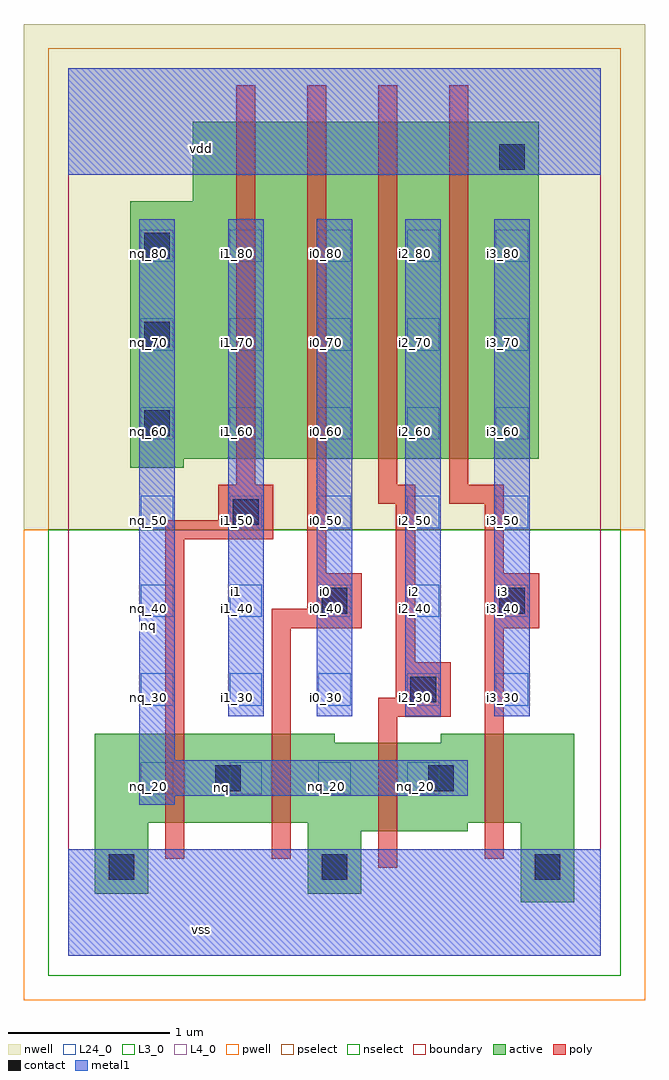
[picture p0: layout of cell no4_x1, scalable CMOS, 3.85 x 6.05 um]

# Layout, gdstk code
import gdstk
lib = gdstk.Library(unit=1e-6, precision=2.5e-09)
def R(c, l, rs):  # rectangles x0, y0, x1, y1
    for r in rs: c.add(gdstk.rectangle(r[:2], r[2:], *l))
def A(c, l, x, y, w, h, nx, ny, dx, dy):  # array of equal rectangles
    R(c, l, [(x+i*dx, y+j*dy, x+i*dx+w, y+j*dy+h) for i in range(nx) for j in range(ny)])
L3_0 = (3, 0)
L4_0 = (4, 0)
L24_0 = (24, 0)
contact = (25, 0)
pwell = (41, 0)
nwell = (42, 0)
active = (43, 0)
pselect = (44, 0)
nselect = (45, 0)
poly = (46, 0)
metal1 = (49, 0)
boundary = (63, 0)

no4_x1 = lib.new_cell('no4_x1')
R(no4_x1, L3_0, [(2.805,0.33,3.135,0.825), (0.165,0.385,0.495,0.825), (1.485,0.385,1.815,0.77), (1.485,0.77,2.475,0.825), (0.165,0.825,3.135,1.32), (0.165,1.32,1.65,1.375), (2.31,1.32,3.135,1.375)])
R(no4_x1, L4_0, [(0.385,3.025,0.715,3.08), (0.385,3.08,2.915,4.675), (0.77,4.675,2.915,5.17)])
A(no4_x1, L24_0, 0.45, 1, 0.2, 0.2, 4, 1, 0.55, 0)
A(no4_x1, L24_0, 0.45, 1.55, 0.2, 0.2, 5, 6, 0.55, 0.55)
A(no4_x1, contact, 0.25, 0.47, 0.16, 0.16, 3, 1, 1.32, 0)
A(no4_x1, contact, 0.47, 3.22, 0.16, 0.16, 1, 3, 0, 0.55)
R(no4_x1, contact, [(0.91,1.02,1.07,1.18), (2.23,1.02,2.39,1.18), (2.12,1.57,2.28,1.73), (1.57,2.12,1.73,2.28), (2.67,2.12,2.83,2.28), (1.02,2.67,1.18,2.83), (2.67,4.87,2.83,5.03)])
R(no4_x1, pwell, [(-0.275,-0.275,3.575,2.64)])
R(no4_x1, nwell, [(-0.275,2.64,3.575,5.775)])
R(no4_x1, active, [(2.805,0.33,3.135,0.825), (0.165,0.385,0.495,0.825), (1.485,0.385,1.815,0.77), (1.485,0.77,2.475,0.825), (0.165,0.825,3.135,1.32), (0.165,1.32,1.65,1.375), (2.31,1.32,3.135,1.375), (0.385,3.025,0.715,3.08), (0.385,3.08,2.915,4.675), (0.77,4.675,2.915,5.17)])
R(no4_x1, pselect, [(-0.125,2.64,3.425,5.625)])
R(no4_x1, nselect, [(-0.125,-0.125,3.425,2.64)])
R(no4_x1, poly, [(1.92,0.545,2.04,1.48), (0.6,0.6,0.72,2.58), (1.26,0.6,1.38,2.03), (2.58,0.6,2.7,2.03), (1.92,1.48,2.37,1.6), (2.03,1.6,2.37,1.82), (2.03,1.82,2.15,2.8), (1.26,2.03,1.82,2.15), (2.58,2.03,2.92,2.37), (1.48,2.15,1.82,2.37), (1.48,2.37,1.6,5.395), (2.58,2.37,2.7,2.8), (0.6,2.58,1.27,2.7), (0.93,2.7,1.27,2.92), (1.92,2.8,2.15,2.92), (2.36,2.8,2.7,2.92), (1.04,2.92,1.16,5.395), (1.92,2.92,2.04,5.395), (2.36,2.92,2.48,5.395)])
A(no4_x1, metal1, 0.99, 1.485, 0.22, 3.08, 4, 1, 0.55, 0)
R(no4_x1, metal1, [(0,0,3.3,0.66), (0.44,0.935,0.66,0.99), (0.44,0.99,2.475,1.21), (0.44,1.21,0.66,4.565), (0,4.84,3.3,5.5)])
R(no4_x1, boundary, [(0,0,3.3,5.5)])
no4_x1.add(gdstk.Label('vss', (0.825,0.165), layer=49, texttype=0))
no4_x1.add(gdstk.Label('nq', (0.9475,1.045), layer=49, texttype=0))
no4_x1.add(gdstk.Label('i3', (2.695,2.255), layer=49, texttype=0))
no4_x1.add(gdstk.Label('i2', (2.145,2.255), layer=49, texttype=0))
no4_x1.add(gdstk.Label('i0', (1.595,2.255), layer=49, texttype=0))
no4_x1.add(gdstk.Label('i1', (1.045,2.255), layer=49, texttype=0))
no4_x1.add(gdstk.Label('nq', (0.495,2.0475), layer=49, texttype=0))
no4_x1.add(gdstk.Label('vdd', (0.825,5.005), layer=49, texttype=0))
no4_x1.add(gdstk.Label('nq_20', (1.05,1.05), layer=24, texttype=0))
no4_x1.add(gdstk.Label('nq_20', (1.6,1.05), layer=24, texttype=0))
no4_x1.add(gdstk.Label('nq_20', (2.15,1.05), layer=24, texttype=0))
no4_x1.add(gdstk.Label('nq_20', (0.5,1.05), layer=24, texttype=0))
no4_x1.add(gdstk.Label('nq_70', (0.5,3.8), layer=24, texttype=0))
no4_x1.add(gdstk.Label('nq_60', (0.5,3.25), layer=24, texttype=0))
no4_x1.add(gdstk.Label('nq_50', (0.5,2.7), layer=24, texttype=0))
no4_x1.add(gdstk.Label('nq_40', (0.5,2.15), layer=24, texttype=0))
no4_x1.add(gdstk.Label('nq_30', (0.5,1.6), layer=24, texttype=0))
no4_x1.add(gdstk.Label('nq_80', (0.5,4.35), layer=24, texttype=0))
no4_x1.add(gdstk.Label('i3_30', (2.7,1.6), layer=24, texttype=0))
no4_x1.add(gdstk.Label('i3_40', (2.7,2.15), layer=24, texttype=0))
no4_x1.add(gdstk.Label('i3_50', (2.7,2.7), layer=24, texttype=0))
no4_x1.add(gdstk.Label('i3_60', (2.7,3.25), layer=24, texttype=0))
no4_x1.add(gdstk.Label('i3_70', (2.7,3.8), layer=24, texttype=0))
no4_x1.add(gdstk.Label('i3_80', (2.7,4.35), layer=24, texttype=0))
no4_x1.add(gdstk.Label('i1_80', (1.05,4.35), layer=24, texttype=0))
no4_x1.add(gdstk.Label('i1_70', (1.05,3.8), layer=24, texttype=0))
no4_x1.add(gdstk.Label('i1_60', (1.05,3.25), layer=24, texttype=0))
no4_x1.add(gdstk.Label('i1_50', (1.05,2.7), layer=24, texttype=0))
no4_x1.add(gdstk.Label('i1_40', (1.05,2.15), layer=24, texttype=0))
no4_x1.add(gdstk.Label('i1_30', (1.05,1.6), layer=24, texttype=0))
no4_x1.add(gdstk.Label('i0_30', (1.6,1.6), layer=24, texttype=0))
no4_x1.add(gdstk.Label('i0_40', (1.6,2.15), layer=24, texttype=0))
no4_x1.add(gdstk.Label('i0_50', (1.6,2.7), layer=24, texttype=0))
no4_x1.add(gdstk.Label('i0_60', (1.6,3.25), layer=24, texttype=0))
no4_x1.add(gdstk.Label('i0_70', (1.6,3.8), layer=24, texttype=0))
no4_x1.add(gdstk.Label('i0_80', (1.6,4.35), layer=24, texttype=0))
no4_x1.add(gdstk.Label('i2_30', (2.15,1.6), layer=24, texttype=0))
no4_x1.add(gdstk.Label('i2_40', (2.15,2.15), layer=24, texttype=0))
no4_x1.add(gdstk.Label('i2_50', (2.15,2.7), layer=24, texttype=0))
no4_x1.add(gdstk.Label('i2_60', (2.15,3.25), layer=24, texttype=0))
no4_x1.add(gdstk.Label('i2_70', (2.15,3.8), layer=24, texttype=0))
no4_x1.add(gdstk.Label('i2_80', (2.15,4.35), layer=24, texttype=0))

lib.write_gds('no4_x1.gds')
